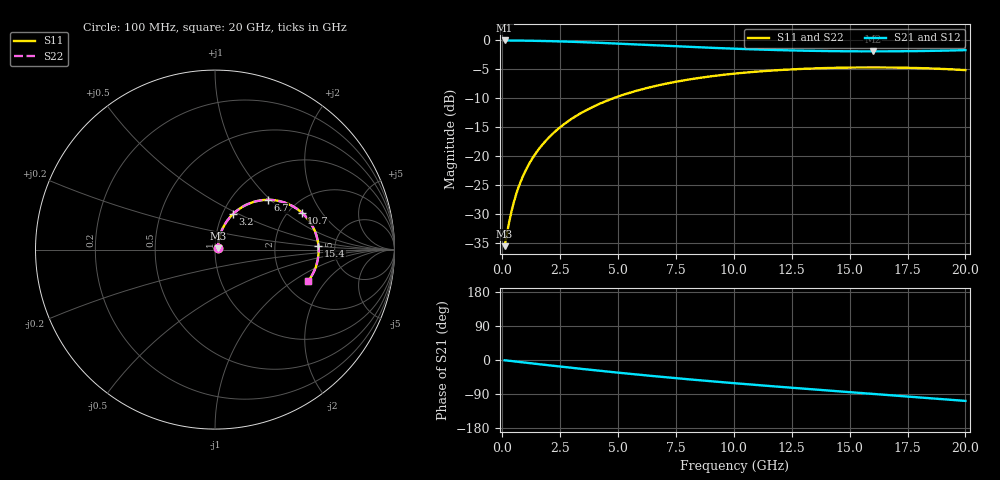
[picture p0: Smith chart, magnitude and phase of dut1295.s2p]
! Touchstone file exported from HFSS 2026.1.0
!  File:  C:/ffzhzh/LocalFiles/Ansys_Project_Files/temp_train_TSV_RDL_1295_1783332826_30076.aedt
!  Generated:  06:30:32 PM Jul  6, 2026
!  Design:  TSV_RDL
!  Project:  temp_train_TSV_RDL_1295_1783332826_30076
! Variables:
!  h_bsmrdl = 5.98um
!  h_ox = 20um
!  h_rdl = 5um
!  h_sub = 82.62um
!  h_tmrdl = 3.34um
!  h_tsv = 82.62um
!  h_via = 3um
!  l_bsmrdl = 161.84um
!  l_sub = 1736.01um
!  l_tmrdl = 183.71um
!  m_sub = 200um
!  pitch = 46.39um
!  r_tsv = 2.63um
!  s_tmrdl = 10um
!  w_bsmrdl = 16.26um
!  w_sub = 500um
!  w_tmrdl = 22.29um
!  x_tsv_center1 = 194.855um
!  x_tsv_center2 = 372.955um
!  x_tsv_center3 = 578.955um
!  x_tsv_center4 = 757.055um
!  x_tsv_center5 = 963.055um
!  x_tsv_center6 = 1141.155um
# GHz S MA R 50.000000
! Terminal data exported
! Port[1] = TM_RDL1_1_T1
! Port[2] = TM_RDL5_1_T1
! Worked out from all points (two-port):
!   200 points, 100 MHz to 20 GHz, reference 50 ohm
!   highest |S21| = -0.13 dB at 100 MHz (marker M1); lowest = -2.0 dB at 16 GHz (marker M2)
!   |S21| within 3 dB of the highest: start of sweep to end of sweep
!   lowest |S11| = -35.5 dB at 100 MHz (marker M3), VSWR 1.03, Z = 51.5 + j0.765 ohm
!   |S11| at or under -10 dB: start of sweep to 4.851 GHz
!   |S22| runs from -35.5 to -4.8 dB; largest |S21 - S12| = 1.4e-13
!   S11 on the Smith chart (normalised r, x): 100 MHz: 1.03, +0.02; 3.2 GHz: 1.12, +0.47; 6.7 GHz: 1.45, +0.96; 10.7 GHz: 2.34, +1.33; 15.4 GHz: 3.71, +0.20; 20 GHz: 2.66, -1.34
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0.1  0.0167 26.4  0.9851 -0.7  0.9851 -0.7  0.0167 26.4
! Gamma 0 0 0 0
! Port Impedance 50 0 50 0
0.3  0.02717 53.4  0.9844 -2.1  0.9844 -2.1  0.02717 53.4
0.5  0.04006 63.3  0.9836 -3.5  0.9836 -3.5  0.04006 63.3
0.8  0.06046 68.9  0.9822 -5.6  0.9822 -5.6  0.06046 68.9
1.1  0.08126 70.7  0.9805 -7.7  0.9805 -7.7  0.08126 70.7
1.5  0.109 70.7  0.9775 -10.5  0.9775 -10.5  0.109 70.7
2  0.1432 69.2  0.9726 -13.9  0.9726 -13.9  0.1432 69.2
2.6  0.183 66.4  0.9653 -18.0  0.9653 -18.0  0.183 66.4
3.2  0.2213 63.2  0.9567 -22.0  0.9567 -22.0  0.2213 63.2
3.5  0.2397 61.6  0.952 -23.9  0.952 -23.9  0.2397 61.6
4.9  0.3188 53.5  0.9274 -32.8  0.9274 -32.8  0.3188 53.5
6.7  0.4032 43.5  0.8931 -43.5  0.8931 -43.5  0.4032 43.5
6.8  0.4074 42.9  0.8912 -44.0  0.8912 -44.0  0.4074 42.9
8.4  0.4655 34.5  0.8622 -52.8  0.8622 -52.8  0.4655 34.5
10.1  0.5122 26.0  0.8356 -61.6  0.8356 -61.6  0.5122 26.0
10.7  0.5254 23.1  0.8276 -64.6  0.8276 -64.6  0.5254 23.1
13.4  0.5654 10.7  0.8017 -77.4  0.8017 -77.4  0.5654 10.7
15.4  0.5768 1.8  0.7939 -86.6  0.7939 -86.6  0.5768 1.8
16  0.5774 -0.9  0.7935 -89.4  0.7935 -89.4  0.5774 -0.9
16.7  0.5764 -3.9  0.7941 -92.6  0.7941 -92.6  0.5764 -3.9
18.3  0.5675 -11.0  0.8001 -99.9  0.8001 -99.9  0.5675 -11.0
20  0.5473 -18.8  0.813 -108.0  0.813 -108.0  0.5473 -18.8
